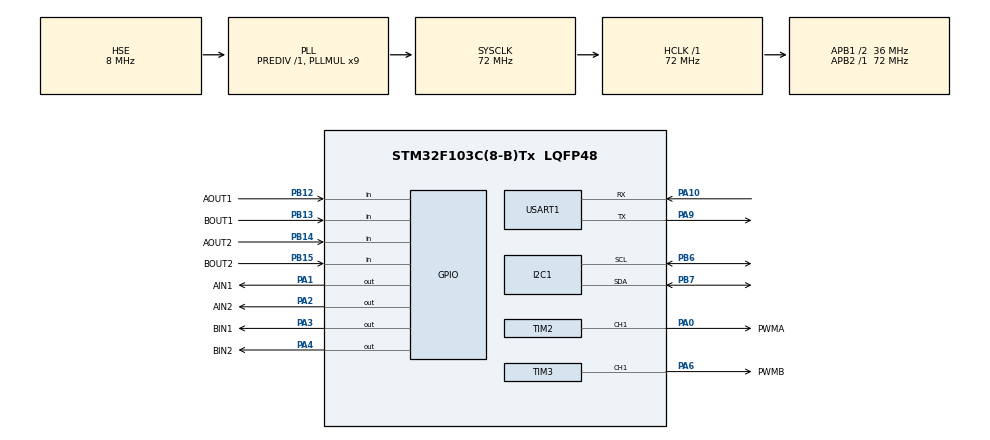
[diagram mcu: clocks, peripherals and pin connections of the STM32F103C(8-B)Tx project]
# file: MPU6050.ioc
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Mcu.Family=STM32F1
Mcu.Name=STM32F103C(8-B)Tx
Mcu.Package=LQFP48
NVIC.PriorityGroup=NVIC_PRIORITYGROUP_4
NVIC.TIM1_UP_IRQn=true\:0\:0\:false\:false\:true\:true\:true
PA0-WKUP.GPIO_Label=PWMA
PA0-WKUP.Signal=S_TIM2_CH1_ETR
PA1.GPIO_Label=AIN1
PA1.PinState=GPIO_PIN_RESET
PA1.Signal=GPIO_Output
PA10.Mode=Asynchronous
PA10.Signal=USART1_RX
PA13.Mode=Serial_Wire
PA13.Signal=SYS_JTMS-SWDIO
PA14.Mode=Serial_Wire
PA14.Signal=SYS_JTCK-SWCLK
PA2.GPIO_Label=AIN2
PA2.PinState=GPIO_PIN_RESET
PA2.Signal=GPIO_Output
PA3.GPIO_Label=BIN1
PA3.PinState=GPIO_PIN_RESET
PA3.Signal=GPIO_Output
PA4.GPIO_Label=BIN2
PA4.PinState=GPIO_PIN_RESET
PA4.Signal=GPIO_Output
PA6.GPIO_Label=PWMB
PA6.Signal=S_TIM3_CH1
PA9.Mode=Asynchronous
PA9.Signal=USART1_TX
PB12.GPIO_Label=AOUT1
PB12.Signal=GPIO_Input
PB13.GPIO_Label=BOUT1
PB13.Signal=GPIO_Input
PB14.GPIO_Label=AOUT2
PB14.Signal=GPIO_Input
PB15.GPIO_Label=BOUT2
PB15.Signal=GPIO_Input
PB6.Mode=I2C
PB6.Signal=I2C1_SCL
PB7.Mode=I2C
PB7.Signal=I2C1_SDA
PD0-OSC_IN.Mode=HSE-External-Oscillator
PD0-OSC_IN.Signal=RCC_OSC_IN
PD1-OSC_OUT.Mode=HSE-External-Oscillator
PD1-OSC_OUT.Signal=RCC_OSC_OUT
ProjectManager.HeapSize=0x200
ProjectManager.StackSize=0x400
ProjectManager.TargetToolchain=MDK-ARM V5
RCC.AHBFreq_Value=72000000
RCC.APB1CLKDivider=RCC_HCLK_DIV2
RCC.APB1Freq_Value=36000000
RCC.APB1TimFreq_Value=72000000
RCC.APB2Freq_Value=72000000
RCC.APB2TimFreq_Value=72000000
RCC.HCLKFreq_Value=72000000
RCC.PLLMUL=RCC_PLL_MUL9
RCC.PLLSourceVirtual=RCC_PLLSOURCE_HSE
RCC.SYSCLKFreq_VALUE=72000000
RCC.SYSCLKSource=RCC_SYSCLKSOURCE_PLLCLK
RCC.USBFreq_Value=72000000
SH.S_TIM2_CH1_ETR.0=TIM2_CH1,PWM Generation1 CH1
SH.S_TIM3_CH1.0=TIM3_CH1,PWM Generation1 CH1
TIM1.Period=100-1
TIM1.Prescaler=72-1
TIM2.AutoReloadPreload=TIM_AUTORELOAD_PRELOAD_ENABLE
TIM2.Channel-PWM\ Generation1\ CH1=TIM_CHANNEL_1
TIM2.Period=1000-1
TIM2.Prescaler=72-1
TIM2.Pulse-PWM\ Generation1\ CH1=500
TIM3.AutoReloadPreload=TIM_AUTORELOAD_PRELOAD_ENABLE
TIM3.Channel-PWM\ Generation1\ CH1=TIM_CHANNEL_1
TIM3.Period=1000-1
TIM3.Prescaler=72-1
TIM3.Pulse-PWM\ Generation1\ CH1=500
USART1.VirtualMode=VM_ASYNC
VP_TIM1_VS_ClockSourceINT.Mode=Internal
VP_TIM2_VS_ClockSourceINT.Mode=Internal
VP_TIM3_VS_ClockSourceINT.Mode=Internal
board=custom

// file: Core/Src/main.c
/* USER CODE BEGIN Header */
/**
  ******************************************************************************
  * @file           : main.c
  * @brief          : Main program body
  ******************************************************************************
  * @attention
  *
  * Copyright (c) 2022 STMicroelectronics.
  * All rights reserved.
  *
  * This software is licensed under terms that can be found in the LICENSE file
  * in the root directory of this software component.
  * If no LICENSE file comes with this software, it is provided AS-IS.
  *
  ******************************************************************************
  */
/* USER CODE END Header */
#include "main.h"
#include "i2c.h"
#include "tim.h"
#include "usart.h"
#include "gpio.h"

/* USER CODE BEGIN Includes */
#include <stdio.h>
#include "PID.h"
#include "Motor.h"
/* USER CODE END Includes */

/* USER CODE BEGIN PV */
float pitch,roll,yaw; 		//欧拉角
short aacx,aacy,aacz;		//加速度传感器原始数据
short gyrox,gyroy,gyroz;	//陀螺仪原始数据
short temp;					//温度

int pwm_value=0,pwm_velocity=0,pwm_Upright=0;
int tmp_x=0,tmp_z=0;
float tmp_theta=0;

int count=0;
int A1=0,A2=0,B1=0,B2=0;
int A1_tmp=0,A2_tmp=0,B1_tmp=0,B2_tmp=0;
int L_count=0,R_count=0;

/* USER CODE END PV */

void SystemClock_Config(void);

/* USER CODE BEGIN 0 */
int fputc(int ch,FILE* f)
{
	uint8_t temp[1]={ch};
	HAL_UART_Transmit(&huart1,temp,1,2);
	return ch;
}

/* USER CODE END 0 */

int main(void)
{

  /* MCU Configuration--------------------------------------------------------*/

  /* Reset of all peripherals, Initializes the Flash interface and the Systick. */
  HAL_Init();

  /* Configure the system clock */
  SystemClock_Config();

  /* Initialize all configured peripherals */
  MX_GPIO_Init();
  MX_I2C1_Init();
  MX_USART1_UART_Init();
  MX_TIM1_Init();
  MX_TIM2_Init();
  MX_TIM3_Init();
  /* USER CODE BEGIN 2 */
HAL_TIM_Base_Start_IT(&htim1);
HAL_TIM_Base_Start_IT(&htim2);
HAL_TIM_Base_Start_IT(&htim3);
HAL_TIM_PWM_Start_IT(&htim2,TIM_CHANNEL_1);
HAL_TIM_PWM_Start_IT(&htim3,TIM_CHANNEL_1);

	while(MPU_Init());					//初始化MPU6050
	printf("%s\r\n","zihao");
	while(mpu_dmp_init())
	{
		delay_ms(200);
		printf("%s\r\n","Mpu6050 Init Wrong!");
	}
	printf("%s\r\n","Mpu6050 Init OK!");

	MPU_Get_Gyroscope_Mean(&gyrox,&gyroy,&gyroz);	//取平均
	MPU_Get_Accelerometer_Mean(&aacx,&aacy,&aacz);	//取平均

  /* USER CODE END 2 */

  /* Infinite loop */
  while(1)
  {

    /* USER CODE BEGIN 3 */

		if(mpu_dmp_get_data(&pitch,&roll,&yaw)==0)
		{
				MPU_Get_Accelerometer(&aacx,&aacy,&aacz);	//得到加速度传感器数据
				MPU_Get_Gyroscope(&gyrox,&gyroy,&gyroz);	//得到陀螺仪数据
//				printf("三轴角度(deg)：%.1f  %.1f  %.1f\r\n",pitch,roll,yaw);
//				printf("三轴加速度a(m/s^2)：%.3fg  %.3fg  %.3fg\r\n",(float)aacx/(0xffff/4),(float)aacy/(0xffff/4),(float)aacz/(0xffff/4));
//				printf("三轴角速度w(deg/s)：%.1f  %.1f  %.1f\r\n",(float)gyrox/(0xffff/500),(float)gyroy/(0xffff/500),(float)gyroz/(0xffff/500));

		}

//电机计数

		A1_tmp = A1;
		A2_tmp = A2;
		B1_tmp = B1;
		B2_tmp = B2;
		A1=HAL_GPIO_ReadPin(AOUT1_GPIO_Port,AOUT1_Pin);
		B1=HAL_GPIO_ReadPin(BOUT1_GPIO_Port,BOUT1_Pin);
		A2=HAL_GPIO_ReadPin(AOUT2_GPIO_Port,AOUT2_Pin);
		B2=HAL_GPIO_ReadPin(BOUT2_GPIO_Port,BOUT2_Pin);

		if((A1!=A1_tmp)&&A1)
		{
			if(B1&&B1_tmp)
				L_count++;
			if(!B1&&!B1_tmp)
				L_count--;
		}

		if((A2!=A2_tmp)&&A2)
		{
			if(B2&&B2_tmp)
				R_count--;
			if(!B2&&!B2_tmp)
				R_count++;
		}

		tmp_theta=(float)gyroy/(0xffff/500);

//		pwm_velocity = velocity(0,L_count,R_count);
//		pwm_velocity = (pwm_velocity>=100)?100:pwm_velocity;
//		pwm_velocity = (pwm_velocity<=-100)?-100:pwm_velocity;

		pwm_Upright=Upright(0,pitch,tmp_theta);
		pwm_Upright = (pwm_Upright>=800)?800:pwm_Upright;
		pwm_Upright = (pwm_Upright<=-800)?-800:pwm_Upright;

		pwm_value = pwm_Upright+0;
		rotation(pwm_value);//正反转
		pwm_value = (pwm_value>0)?pwm_value:(-pwm_value);
		pwm_value = (pwm_value>=1000)?1000:pwm_value;
		__HAL_TIM_SET_COMPARE(&htim2,TIM_CHANNEL_1,pwm_value);
		__HAL_TIM_SET_COMPARE(&htim3,TIM_CHANNEL_1,pwm_value);

//		HAL_Delay(100);
  }
  /* USER CODE END 3 */
}

void SystemClock_Config(void)
{
  RCC_OscInitTypeDef RCC_OscInitStruct = {0};
  RCC_ClkInitTypeDef RCC_ClkInitStruct = {0};

  /** Initializes the RCC Oscillators according to the specified parameters
  * in the RCC_OscInitTypeDef structure.
  */
  RCC_OscInitStruct.OscillatorType = RCC_OSCILLATORTYPE_HSE;
  RCC_OscInitStruct.HSEState = RCC_HSE_ON;
  RCC_OscInitStruct.HSEPredivValue = RCC_HSE_PREDIV_DIV1;
  RCC_OscInitStruct.HSIState = RCC_HSI_ON;
  RCC_OscInitStruct.PLL.PLLState = RCC_PLL_ON;
  RCC_OscInitStruct.PLL.PLLSource = RCC_PLLSOURCE_HSE;
  RCC_OscInitStruct.PLL.PLLMUL = RCC_PLL_MUL9;
  if (HAL_RCC_OscConfig(&RCC_OscInitStruct) != HAL_OK)
  {
    Error_Handler();
  }
  /** Initializes the CPU, AHB and APB buses clocks
  */
  RCC_ClkInitStruct.ClockType = RCC_CLOCKTYPE_HCLK|RCC_CLOCKTYPE_SYSCLK
                              |RCC_CLOCKTYPE_PCLK1|RCC_CLOCKTYPE_PCLK2;
  RCC_ClkInitStruct.SYSCLKSource = RCC_SYSCLKSOURCE_PLLCLK;
  RCC_ClkInitStruct.AHBCLKDivider = RCC_SYSCLK_DIV1;
  RCC_ClkInitStruct.APB1CLKDivider = RCC_HCLK_DIV2;
  RCC_ClkInitStruct.APB2CLKDivider = RCC_HCLK_DIV1;

  if (HAL_RCC_ClockConfig(&RCC_ClkInitStruct, FLASH_LATENCY_2) != HAL_OK)
  {
    Error_Handler();
  }
}

/* USER CODE BEGIN 4 */

void HAL_TIM_PeriodElapsedCallback(TIM_HandleTypeDef *htim)
{
	if(htim->Instance == htim1.Instance)
	{
		count++;
		if(count>=1000)
		{
			printf("pwm_Upright： %d   pwm_velocity： %d   pwm_value: %d\r\n",pwm_Upright,pwm_velocity,pwm_value);
			count = 0;
			L_count = 0;
			R_count = 0;
		}
	}
}
/* USER CODE END 4 */

void Error_Handler(void)
{
  __disable_irq();
  while (1)
  {
  }
}
